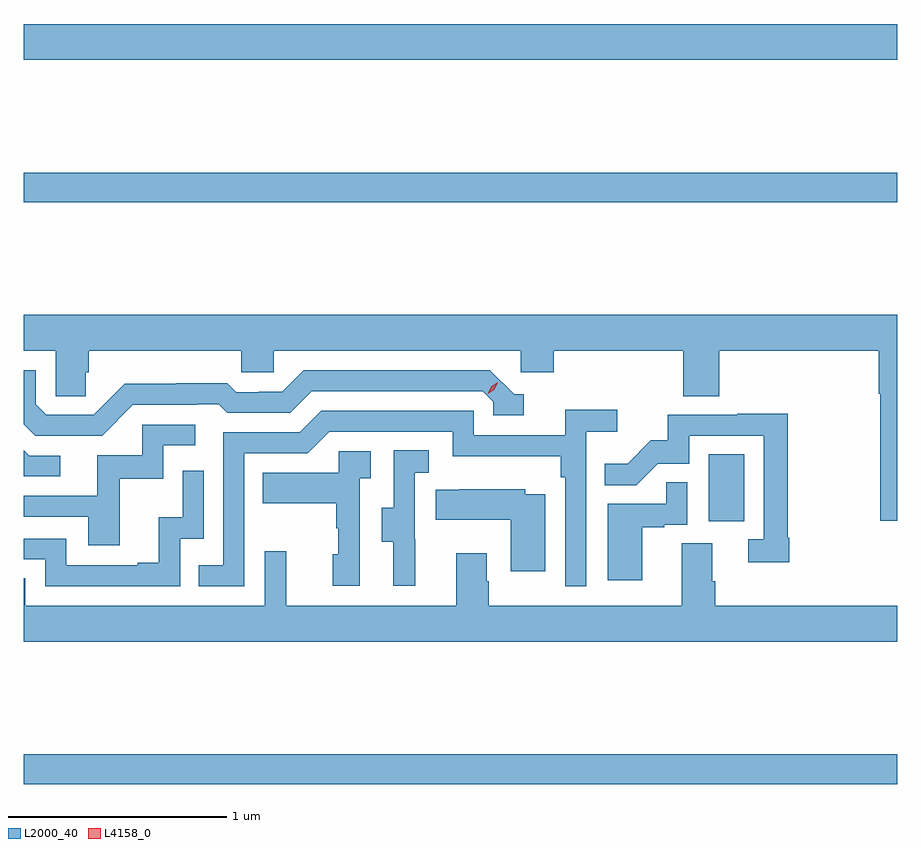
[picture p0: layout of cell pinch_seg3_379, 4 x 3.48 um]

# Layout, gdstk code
import gdstk
lib = gdstk.Library(unit=1e-6, precision=1e-09)
def R(c, l, rs):  # rectangles x0, y0, x1, y1
    for r in rs: c.add(gdstk.rectangle(r[:2], r[2:], *l))
def P(c, l, *ps):  # polygons
    for p in ps: c.add(gdstk.Polygon(p, *l))
L2000_40 = (2000, 40)
L4158_0 = (4158, 0)

pinch_seg3_379 = lib.new_cell('pinch_seg3_379')
R(pinch_seg3_379, L2000_40, [(987.178,685.612,991.178,685.748), (990.314,686.814,990.478,687.121), (987.178,688.276,991.178,688.412), (987.178,688.928,991.178,689.092)])
P(pinch_seg3_379, L2000_40, [(991.178,687.76),(987.178,687.76),(987.178,687.596),(987.324,687.596),(987.324,687.388),(987.461,687.388),(987.461,687.498),(987.476,687.498),(987.476,687.596),(988.173,687.596),(988.173,687.498),(988.323,687.498),(988.323,687.596),(989.454,687.596),(989.454,687.498),(989.606,687.498),(989.606,687.596),(990.197,687.596),(990.197,687.388),(990.362,687.388),(990.362,687.596),(991.094,687.596),(991.094,687.4),(991.099,687.4),(991.099,686.817),(991.178,686.817)],
  [(987.678,687.348),(987.971,687.348),(987.971,687.351),(988.07,687.351),(988.109,687.312),(988.398,687.312),(988.497,687.411),(989.28,687.411),(989.328,687.363),(989.328,687.3),(989.467,687.3),(989.467,687.396),(989.424,687.396),(989.313,687.507),(988.46,687.507),(988.361,687.408),(988.254,687.408),(988.254,687.405),(988.151,687.405),(988.109,687.448),(987.876,687.448),(987.876,687.445),(987.64,687.445),(987.498,687.303),(987.282,687.303),(987.234,687.351),(987.234,687.507),(987.178,687.507),(987.178,687.26),(987.231,687.207),(987.537,687.207)],
  [(988.188,687.126),(988.479,687.126),(988.578,687.225),(989.142,687.225),(989.142,687.113),(989.638,687.113),(989.638,687.017),(989.658,687.017),(989.658,686.517),(989.754,686.517),(989.754,687.224),(989.896,687.224),(989.896,687.326),(989.657,687.326),(989.657,687.21),(989.238,687.21),(989.238,687.321),(988.541,687.321),(988.442,687.222),(988.092,687.222),(988.092,686.613),(987.979,686.613),(987.979,686.517),(988.188,686.517)],
  [(990.683,686.74),(990.676,686.74),(990.676,687.308),(990.445,687.308),(990.445,687.303),(990.127,687.303),(990.127,687.186),(990.05,687.186),(989.943,687.079),(989.839,687.079),(989.839,686.98),(989.983,686.98),(990.081,687.078),(990.225,687.078),(990.225,687.207),(990.567,687.207),(990.567,686.733),(990.495,686.733),(990.495,686.628),(990.683,686.628)],
  [(987.617,687.009),(987.816,687.009),(987.816,687.162),(987.964,687.162),(987.964,687.258),(987.72,687.258),(987.72,687.117),(987.515,687.117),(987.515,686.931),(987.178,686.931),(987.178,686.835),(987.473,686.835),(987.473,686.706),(987.617,686.706)],
  [(988.97,686.733),(988.968,686.733),(988.968,687.037),(989.032,687.037),(989.032,687.14),(988.872,687.14),(988.872,686.877),(988.817,686.877),(988.817,686.722),(988.871,686.722),(988.871,686.52),(988.97,686.52)],
  [(987.346,687.114),(987.204,687.114),(987.178,687.14),(987.178,687.021),(987.346,687.021)],
  [(988.716,687.011),(988.768,687.011),(988.768,687.135),(988.62,687.135),(988.62,687.037),(988.273,687.037),(988.273,686.897),(988.608,686.897),(988.608,686.783),(988.618,686.783),(988.618,686.664),(988.592,686.664),(988.592,686.52),(988.716,686.52)],
  [(987.894,686.736),(988.002,686.736),(988.002,687.046),(987.906,687.046),(987.906,686.834),(987.797,686.834),(987.797,686.626),(987.701,686.626),(987.701,686.613),(987.372,686.613),(987.372,686.736),(987.178,686.736),(987.178,686.64),(987.276,686.64),(987.276,686.517),(987.894,686.517)],
  [(990.01,686.787),(990.11,686.787),(990.11,686.799),(990.216,686.799),(990.216,686.993),(990.121,686.993),(990.121,686.895),(989.852,686.895),(989.852,686.544),(990.01,686.544)],
  [(989.566,686.938),(989.475,686.938),(989.475,686.962),(989.173,686.962),(989.173,686.959),(989.065,686.959),(989.065,686.822),(989.408,686.822),(989.408,686.586),(989.566,686.586)],
  [(991.178,686.428),(990.344,686.428),(990.344,686.54),(990.331,686.54),(990.331,686.714),(990.191,686.714),(990.191,686.428),(989.307,686.428),(989.307,686.54),(989.299,686.54),(989.299,686.668),(989.159,686.668),(989.159,686.428),(988.379,686.428),(988.379,686.677),(988.281,686.677),(988.281,686.428),(987.186,686.428),(987.186,686.555),(987.178,686.555),(987.178,686.264),(991.178,686.264)])
P(pinch_seg3_379, L4158_0, [(989.302,687.399),(989.302,687.399),(989.318,687.431),(989.349,687.451),(989.349,687.451),(989.349,687.45),(989.333,687.418),(989.303,687.399)])

lib.write_gds('pinch_seg3_379.gds')
